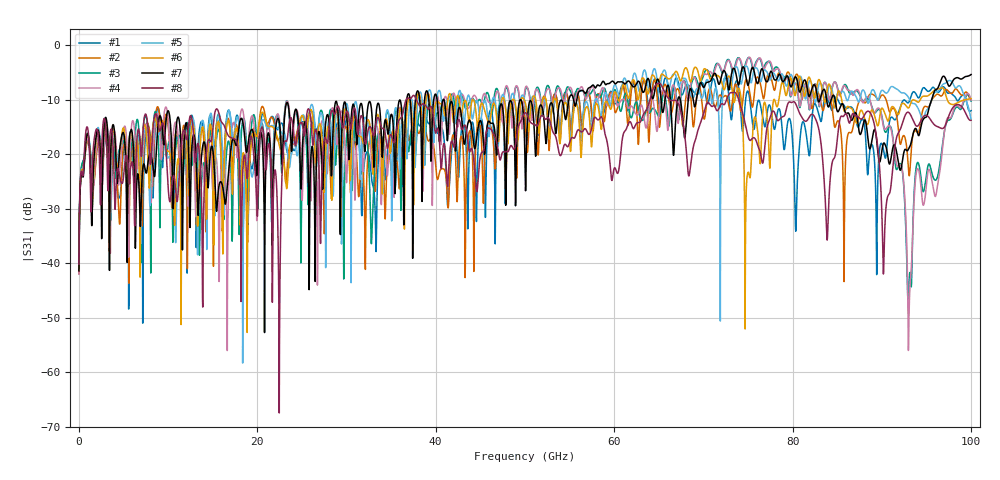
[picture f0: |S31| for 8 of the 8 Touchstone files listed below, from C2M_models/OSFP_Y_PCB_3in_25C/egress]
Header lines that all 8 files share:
# GHz S RI R 45
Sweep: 25 MHz to 100 GHz
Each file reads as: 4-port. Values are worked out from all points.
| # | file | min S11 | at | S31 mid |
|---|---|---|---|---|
| 1 | C2M_Y_OSFP224_3in_host_PCB_25C_FEXT_TP0_Tx1_to_TP1a_Tx7.s4p | -48.7 dB | 10.75 GHz | -14.2 dB at 50.02 GHz |
| 2 | C2M_Y_OSFP224_3in_host_PCB_25C_FEXT_TP0_Tx2_to_TP1a_Tx7.s4p | -63.5 dB | 4.35 GHz | -13.8 dB at 50.02 GHz |
| 3 | C2M_Y_OSFP224_3in_host_PCB_25C_FEXT_TP0_Tx3_to_TP1a_Tx7.s4p | -60.1 dB | 32.27 GHz | -8.5 dB at 50.02 GHz |
| 4 | C2M_Y_OSFP224_3in_host_PCB_25C_FEXT_TP0_Tx4_to_TP1a_Tx7.s4p | -55.0 dB | 16.45 GHz | -8.0 dB at 50.02 GHz |
| 5 | C2M_Y_OSFP224_3in_host_PCB_25C_FEXT_TP0_Tx5_to_TP1a_Tx7.s4p | -66.8 dB | 19.65 GHz | -10.7 dB at 50.02 GHz |
| 6 | C2M_Y_OSFP224_3in_host_PCB_25C_FEXT_TP0_Tx6_to_TP1a_Tx7.s4p | -54.5 dB | 18.12 GHz | -10.5 dB at 50.02 GHz |
| 7 | C2M_Y_OSFP224_3in_host_PCB_25C_FEXT_TP0_Tx8_to_TP1a_Tx7.s4p | -46.1 dB | 98.62 GHz | -22.5 dB at 50.02 GHz |
| 8 | C2M_Y_OSFP224_3in_host_PCB_25C_NEXT_TP1a_Rx6_to_TP1a_Tx7.s4p | -37.3 dB | 3.275 GHz | -12.4 dB at 50.02 GHz |
